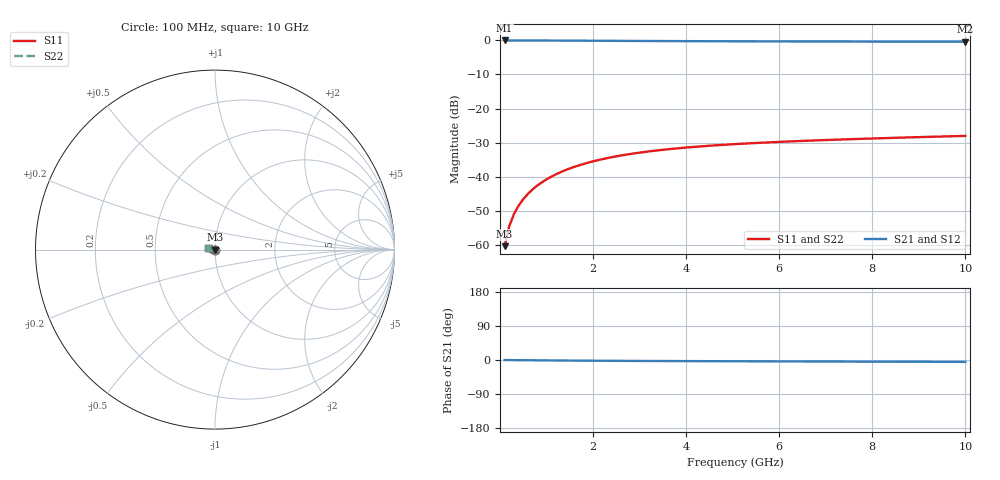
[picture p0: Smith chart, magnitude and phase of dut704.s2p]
! Touchstone file exported from HFSS 2024.1.0
!  File:  C:/UserFiles/LocalFiles/RDL_TSV_Batchsim/temp_TSV1_704_1779866776.aedt
!  Generated:  03:33:33 PM May 27, 2026
!  Design:  TSV1
!  Project:  temp_TSV1_704_1779866776
!  Setup:  Setup1
!  Solution:  Sweep
! Variables:
!  dtsv = 8.2um
!  hbump = 3um
!  htsv = 76.42um
!  lrdl = 252.1521522um
!  p = 40
!  p1 = 47.94um
!  t = 500um
!  trdl = 3um
!  wrdl = 24.89489489um
# GHz S MA R 50.000000
! Terminal data exported
! Port[1] = TSV22_T1
! Port[2] = TSV22_T2
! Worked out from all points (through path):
!   100 points, 100 MHz to 10 GHz, reference 50 ohm
!   highest |S21| = 0.00 dB at 100 MHz (marker M1); lowest = -0.4 dB at 10 GHz (marker M2)
!   lowest |S11| = -60.4 dB at 100 MHz (marker M3), VSWR 1.00, Z = 50 - j0.0935 ohm
!   |S11| at or under -10 dB: start of sweep to end of sweep
!   |S22| runs from -60.4 to -28.0 dB; largest |S21 - S12| = 1.4e-14
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0.1  0.0009518 -79.1  0.9998 -0.1  0.9998 -0.1  0.0009518 -79.1
! Gamma 0 0 0 0
! Port Impedance 50 0 50 0
0.2  0.00188 -87.1  0.9996 -0.2  0.9996 -0.2  0.00188 -87.1
0.3  0.002813 -91.1  0.9995 -0.3  0.9995 -0.3  0.002813 -91.1
0.4  0.003741 -94.0  0.9993 -0.4  0.9993 -0.4  0.003741 -94.0
0.5  0.004663 -96.5  0.999 -0.5  0.999 -0.5  0.004663 -96.5
0.6  0.005575 -98.8  0.9987 -0.6  0.9987 -0.6  0.005575 -98.8
0.7  0.006478 -100.9  0.9983 -0.7  0.9983 -0.7  0.006478 -100.9
0.8  0.007368 -102.9  0.9978 -0.9  0.9978 -0.9  0.007368 -102.9
0.9  0.008245 -104.9  0.9974 -0.9  0.9974 -0.9  0.008245 -104.9
1.1  0.009954 -108.7  0.9963 -1.1  0.9963 -1.1  0.009954 -108.7
1.4  0.01239 -114.1  0.9944 -1.4  0.9944 -1.4  0.01239 -114.1
1.6  0.01392 -117.5  0.993 -1.6  0.993 -1.6  0.01392 -117.5
1.8  0.01538 -120.7  0.9916 -1.7  0.9916 -1.7  0.01538 -120.7
2.1  0.01741 -125.4  0.9893 -2.0  0.9893 -2.0  0.01741 -125.4
2.5  0.01986 -131.3  0.9863 -2.2  0.9863 -2.2  0.01986 -131.3
2.9  0.02201 -136.7  0.9833 -2.5  0.9833 -2.5  0.02201 -136.7
3.4  0.02435 -142.9  0.9799 -2.7  0.9799 -2.7  0.02435 -142.9
4.2  0.02741 -151.6  0.9751 -3.0  0.9751 -3.0  0.02741 -151.6
5.1  0.03014 -160.1  0.9707 -3.4  0.9707 -3.4  0.03014 -160.1
6.7  0.03386 -172.4  0.965 -3.9  0.965 -3.9  0.03386 -172.4
8.4  0.037 177.0  0.961 -4.4  0.961 -4.4  0.037 177.0
10  0.03965 168.7  0.9583 -5.0  0.9583 -5.0  0.03965 168.7
